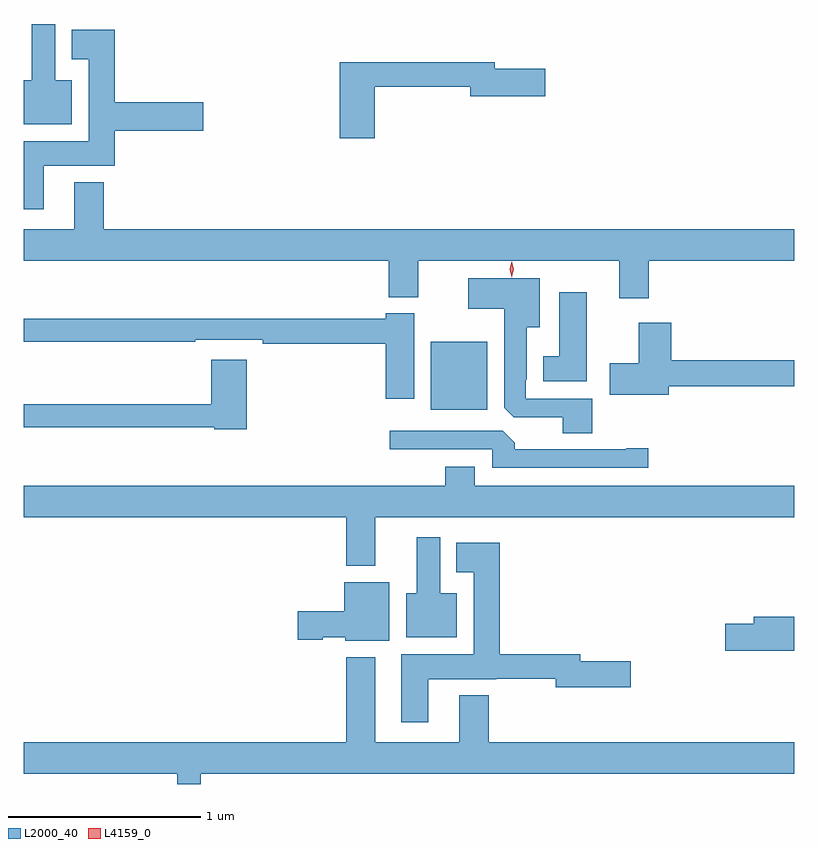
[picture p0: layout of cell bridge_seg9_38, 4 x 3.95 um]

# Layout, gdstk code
import gdstk
lib = gdstk.Library(unit=1e-6, precision=1e-09)
def R(c, l, rs):  # rectangles x0, y0, x1, y1
    for r in rs: c.add(gdstk.rectangle(r[:2], r[2:], *l))
def P(c, l, *ps):  # polygons
    for p in ps: c.add(gdstk.Polygon(p, *l))
L2000_40 = (2000, 40)
L4159_0 = (4159, 0)

bridge_seg9_38 = lib.new_cell('bridge_seg9_38')
R(bridge_seg9_38, L2000_40, [(972.998,1216.958,973.291,1217.311)])
P(bridge_seg9_38, L2000_40, [(971.134,1218.67),(971.047,1218.67),(971.047,1218.961),(970.925,1218.961),(970.925,1218.67),(970.884,1218.67),(970.884,1218.44),(971.134,1218.44)],
  [(970.987,1218.224),(971.357,1218.224),(971.357,1218.407),(971.815,1218.407),(971.815,1218.554),(971.357,1218.554),(971.357,1218.931),(971.132,1218.931),(971.132,1218.779),(971.222,1218.779),(971.222,1218.352),(970.884,1218.352),(970.884,1218),(970.987,1218)],
  [(972.707,1218.634),(973.202,1218.634),(973.202,1218.587),(973.591,1218.587),(973.591,1218.729),(973.33,1218.729),(973.33,1218.763),(972.524,1218.763),(972.524,1218.369),(972.707,1218.369)],
  [(974.129,1217.732),(974.884,1217.732),(974.884,1217.896),(971.3,1217.896),(971.3,1218.139),(971.147,1218.139),(971.147,1217.896),(970.884,1217.896),(970.884,1217.732),(972.779,1217.732),(972.779,1217.543),(972.931,1217.543),(972.931,1217.732),(973.976,1217.732),(973.976,1217.538),(974.129,1217.538)],
  [(973.835,1217.016),(973.491,1217.016),(973.491,1217.113),(973.495,1217.113),(973.495,1217.387),(973.564,1217.387),(973.564,1217.641),(973.191,1217.641),(973.191,1217.483),(973.379,1217.483),(973.379,1216.969),(973.428,1216.92),(973.682,1216.92),(973.682,1216.837),(973.835,1216.837)],
  [(973.807,1217.569),(973.664,1217.569),(973.664,1217.236),(973.58,1217.236),(973.58,1217.105),(973.807,1217.105)],
  [(972.91,1217.458),(972.764,1217.458),(972.764,1217.431),(970.884,1217.431),(970.884,1217.31),(971.774,1217.31),(971.774,1217.322),(972.124,1217.322),(972.124,1217.302),(972.764,1217.302),(972.764,1217.016),(972.91,1217.016)],
  [(974.233,1217.08),(974.884,1217.08),(974.884,1217.216),(974.246,1217.216),(974.246,1217.41),(974.078,1217.41),(974.078,1217.199),(973.926,1217.199),(973.926,1217.036),(974.233,1217.036)],
  [(972.041,1217.218),(971.858,1217.218),(971.858,1216.987),(970.884,1216.987),(970.884,1216.866),(971.874,1216.866),(971.874,1216.858),(972.041,1216.858)],
  [(974.125,1216.757),(974.012,1216.757),(974.012,1216.752),(973.433,1216.752),(973.433,1216.786),(973.371,1216.848),(972.783,1216.848),(972.783,1216.752),(973.317,1216.752),(973.317,1216.656),(974.125,1216.656)],
  [(972.709,1216.4),(974.884,1216.4),(974.884,1216.564),(973.225,1216.564),(973.225,1216.663),(973.073,1216.663),(973.073,1216.564),(970.884,1216.564),(970.884,1216.4),(972.557,1216.4),(972.557,1216.148),(972.709,1216.148)],
  [(973.132,1216.006),(973.045,1216.006),(973.045,1216.297),(972.923,1216.297),(972.923,1216.006),(972.869,1216.006),(972.869,1215.776),(973.132,1215.776)],
  [(972.985,1215.56),(973.338,1215.56),(973.338,1215.561),(973.646,1215.561),(973.646,1215.518),(974.035,1215.518),(974.035,1215.653),(973.774,1215.653),(973.774,1215.689),(973.355,1215.689),(973.355,1216.267),(973.13,1216.267),(973.13,1216.115),(973.22,1216.115),(973.22,1215.688),(972.845,1215.688),(972.845,1215.336),(972.985,1215.336)],
  [(972.781,1216.063),(972.548,1216.063),(972.548,1215.911),(972.306,1215.911),(972.306,1215.764),(972.435,1215.764),(972.435,1215.776),(972.552,1215.776),(972.552,1215.758),(972.781,1215.758)],
  [(974.884,1215.884),(974.675,1215.884),(974.675,1215.848),(974.526,1215.848),(974.526,1215.706),(974.884,1215.706)],
  [(971.803,1215.068),(974.884,1215.068),(974.884,1215.232),(973.298,1215.232),(973.298,1215.475),(973.145,1215.475),(973.145,1215.232),(972.709,1215.232),(972.709,1215.673),(972.557,1215.673),(972.557,1215.232),(970.884,1215.232),(970.884,1215.068),(971.682,1215.068),(971.682,1215.015),(971.803,1215.015)])
P(bridge_seg9_38, L4159_0, [(973.417,1217.646),(973.417,1217.646),(973.407,1217.687),(973.417,1217.727),(973.417,1217.727),(973.417,1217.727),(973.427,1217.687),(973.417,1217.646)])

lib.write_gds('bridge_seg9_38.gds')
